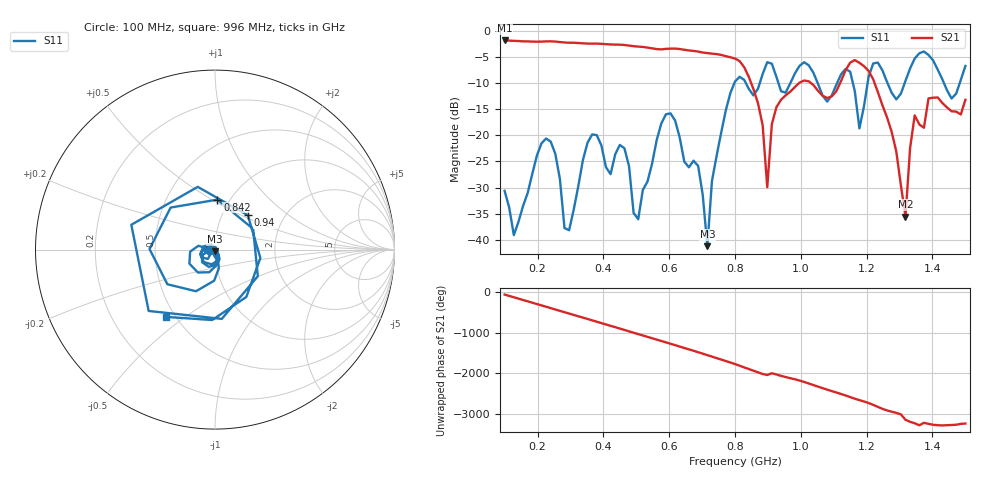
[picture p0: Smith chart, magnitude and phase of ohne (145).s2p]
! NanoVNA-App
! Date: 2025-09-25 14:21:55
! Start: 100MHz Stop: 1,5GHz Points: 101
! S-Parameter data: F S11 S21 S12 S22
# Hz S RI R 50
!  Frequency  S11_Real  S11_Imag  S21_Real  S21_Imag  S12_Real  S12_Imag  S22_Real  S22_Imag
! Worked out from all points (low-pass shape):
!   101 points, 100 MHz to 1.5 GHz, reference 50 ohm
!   highest |S21| = -1.79 dB at 100 MHz (marker M1); lowest = -35.6 dB at 1.318 GHz (marker M2)
!   |S21| within 3 dB of the highest: start of sweep to 771.3 MHz
!   lowest |S11| = -41.2 dB at 716 MHz (marker M3), VSWR 1.02, Z = 49.8 - j0.835 ohm
!   |S11| at or under -10 dB: start of sweep to 797.9 MHz; 833.2 MHz to 875.1 MHz (41.95 MHz wide, 4.91 % of centre); 1.051 GHz to 1.11 GHz (58.52 MHz wide, 5.41 % of centre) (the widest 3 of 7)
!   S12 and S22 are empty: the file has one direction only
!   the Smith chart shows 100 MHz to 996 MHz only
!   S11 on the Smith chart (normalised r, x): 100 MHz: 0.94, -0.01; 842 MHz: 0.88, +0.53; 940 MHz: 1.32, +0.54; 996 MHz: 0.44, -0.42
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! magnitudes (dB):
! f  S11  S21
! 100 MHz  -30.6  -1.8
! 128 MHz  -39.1  -1.9
! 226 MHz  -20.6  -2.0
! 296 MHz  -38.2  -2.2
! 338 MHz  -24.7  -2.3
! 464 MHz  -22.5  -2.7
! 506 MHz  -36.1  -3.0
! 576 MHz  -17.7  -3.5
! 688 MHz  -25.9  -3.9
! 716 MHz  -41.2  -4.2
! 800 MHz  -9.7  -5.3
! 842 MHz  -11.1  -8.8
! 898 MHz  -6.0  -29.9
! 940 MHz  -11.5  -13.2
! 996 MHz  -6.7  -9.9
! 1.038 GHz  -8.0  -10.3
! 1.178 GHz  -18.7  -6.1
! 1.22 GHz  -6.2  -9.3
! 1.276 GHz  -11.8  -19.3
! 1.318 GHz  -9.5  -35.6
! 1.346 GHz  -5.3  -16.2
! 1.5 GHz  -6.7  -13.2
